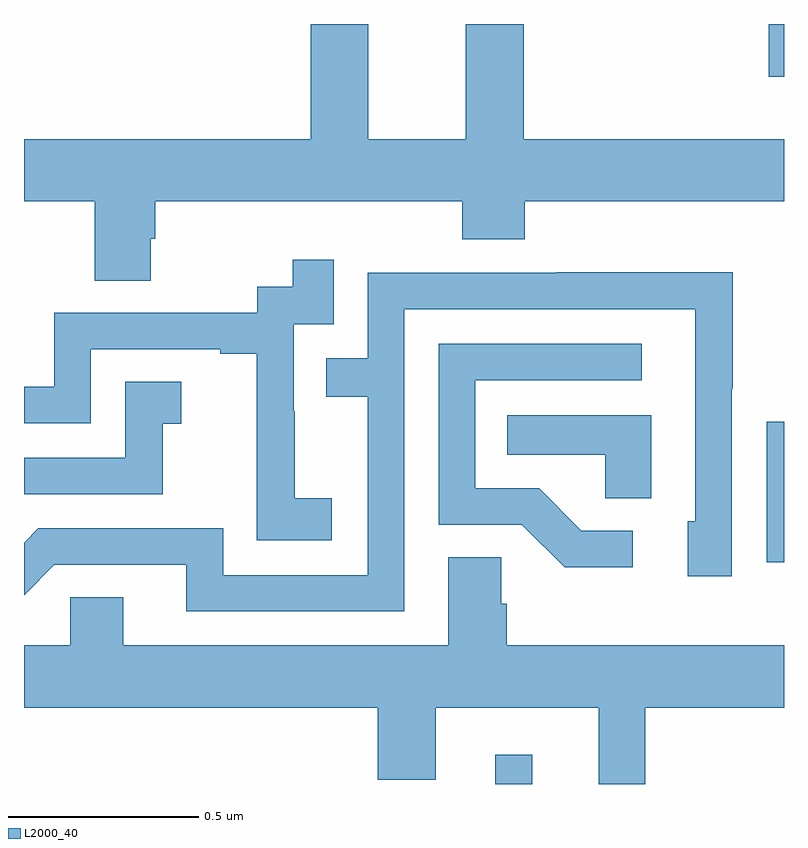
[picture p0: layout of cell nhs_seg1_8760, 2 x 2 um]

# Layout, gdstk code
import gdstk
lib = gdstk.Library(unit=1e-6, precision=1e-09)
def R(c, l, rs):  # rectangles x0, y0, x1, y1
    for r in rs: c.add(gdstk.rectangle(r[:2], r[2:], *l))
def P(c, l, *ps):  # polygons
    for p in ps: c.add(gdstk.Polygon(p, *l))
L2000_40 = (2000, 40)

nhs_seg1_8760 = lib.new_cell('nhs_seg1_8760')
R(nhs_seg1_8760, L2000_40, [(221.24,550.199,221.338,550.276), (221.955,550.782,222,551.152), (221.96,552.06,222,552.199)])
P(nhs_seg1_8760, L2000_40, [(220.333,551.634),(220.346,551.634),(220.346,551.732),(221.153,551.732),(221.153,551.633),(221.318,551.633),(221.318,551.732),(222,551.732),(222,551.896),(221.315,551.896),(221.315,552.199),(221.162,552.199),(221.162,551.896),(220.906,551.896),(220.906,552.199),(220.754,552.199),(220.754,551.896),(220,551.896),(220,551.732),(220.186,551.732),(220.186,551.524),(220.333,551.524)],
  [(220.81,550.951),(220.712,550.951),(220.712,551.18),(220.71,551.18),(220.71,551.409),(220.815,551.409),(220.815,551.578),(220.707,551.578),(220.707,551.508),(220.614,551.508),(220.614,551.439),(220.08,551.439),(220.08,551.244),(220,551.244),(220,551.148),(220.176,551.148),(220.176,551.343),(220.517,551.343),(220.517,551.331),(220.613,551.331),(220.613,551.047),(220.612,551.047),(220.612,550.841),(220.81,550.841)],
  [(221.001,551.448),(221.766,551.448),(221.766,550.89),(221.747,550.89),(221.747,550.746),(221.862,550.746),(221.862,551.239),(221.865,551.239),(221.865,551.546),(221.401,551.546),(221.401,551.544),(220.905,551.544),(220.905,551.319),(220.795,551.319),(220.795,551.218),(220.905,551.218),(220.905,550.749),(220.524,550.749),(220.524,550.872),(220.038,550.872),(220,550.834),(220,550.696),(220.08,550.776),(220.427,550.776),(220.427,550.653),(221.001,550.653)],
  [(221.602,550.866),(221.467,550.866),(221.356,550.977),(221.187,550.977),(221.187,551.262),(221.626,551.262),(221.626,551.358),(221.091,551.358),(221.091,550.881),(221.31,550.881),(221.423,550.769),(221.602,550.769)],
  [(220.365,551.147),(220.414,551.147),(220.414,551.257),(220.266,551.257),(220.266,551.058),(220,551.058),(220,550.962),(220.365,550.962)],
  [(221.65,551.17),(221.272,551.17),(221.272,551.066),(221.529,551.066),(221.529,550.951),(221.65,550.951)],
  [(221.635,550.4),(222,550.4),(222,550.564),(221.27,550.564),(221.27,550.673),(221.256,550.673),(221.256,550.796),(221.117,550.796),(221.117,550.564),(220.261,550.564),(220.261,550.691),(220.122,550.691),(220.122,550.564),(220,550.564),(220,550.4),(220.931,550.4),(220.931,550.21),(221.083,550.21),(221.083,550.4),(221.513,550.4),(221.513,550.199),(221.635,550.199)])

lib.write_gds('nhs_seg1_8760.gds')
